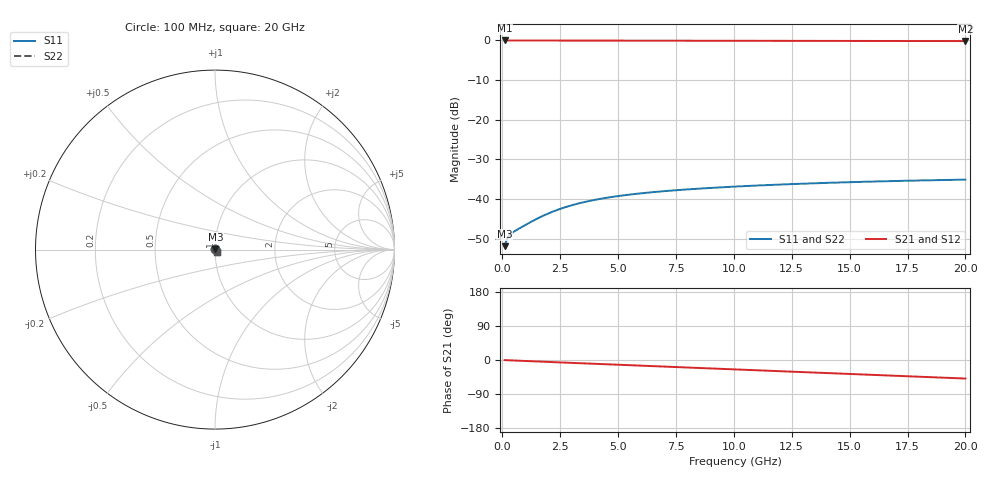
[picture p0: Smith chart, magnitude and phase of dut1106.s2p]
! Touchstone file exported from HFSS 2026.1.0
!  File:  C:/ffzhzh/LocalFiles/Ansys_Project_Files/temp_train_BSMRDL_1106_1783174876_51560.aedt
!  Generated:  10:22:29 PM Jul  4, 2026
!  Design:  BSMRDL
!  Project:  temp_train_BSMRDL_1106_1783174876_51560
! Variables:
!  h_bsmrdl = 5.49um
!  h_ox = 20um
!  h_rdl = 5um
!  h_sub = 80um
!  h_tmrdl = 5um
!  h_tsv = 80um
!  h_via = 3um
!  l_bsmrdl = 878.14um
!  l_sub = 1278.14um
!  l_tmrdl = 200um
!  m_sub = 200um
!  pitch = 34.84um
!  r_tsv = 6um
!  s_tmrdl = 10um
!  w_bsmrdl = 28.69um
!  w_sub = 500um
!  w_tmrdl = 12um
!  x_tsv_center1 = 206um
!  x_tsv_center2 = 1112.83um
!  x_tsv_center3 = 1324.83um
!  x_tsv_center4 = 2231.66um
!  x_tsv_center5 = 2443.66um
!  x_tsv_center6 = 3350.49um
# GHz S MA R 50.000000
! Terminal data exported
! Port[1] = BSM_RDL1_1_T1
! Port[2] = BSM_RDL1_1_T2
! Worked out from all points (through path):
!   200 points, 100 MHz to 20 GHz, reference 50 ohm
!   highest |S21| = -0.02 dB at 100 MHz (marker M1); lowest = -0.2 dB at 20 GHz (marker M2)
!   group delay of S21, straight-line fit = 6.77 ps
!   lowest |S11| = -51.9 dB at 100 MHz (marker M3), VSWR 1.01, Z = 50.2 + j0.0833 ohm
!   |S11| at or under -10 dB: start of sweep to end of sweep
!   |S22| runs from -51.9 to -35.0 dB; largest |S21 - S12| = 3.1e-14
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0.1  0.002536 19.1  0.9976 -0.3  0.9976 -0.3  0.002536 19.1
! Gamma 0 0 0 0
! Port Impedance 50 0 50 0
0.2  0.00311 22.4  0.9971 -0.6  0.9971 -0.6  0.00311 22.4
0.3  0.003459 22.7  0.9968 -0.8  0.9968 -0.8  0.00346 22.7
0.4  0.003687 23.1  0.9966 -1.1  0.9966 -1.1  0.003689 23.1
0.5  0.003867 24.0  0.9965 -1.3  0.9965 -1.3  0.003869 24.0
1  0.004697 29.5  0.996 -2.6  0.996 -2.6  0.004699 29.5
1.6  0.005817 32.8  0.9953 -4.1  0.9953 -4.1  0.005819 32.8
1.9  0.006391 33.1  0.9949 -4.9  0.9949 -4.9  0.006393 33.1
2.2  0.006953 32.7  0.9945 -5.6  0.9945 -5.6  0.006954 32.7
2.8  0.008002 30.8  0.9937 -7.1  0.9937 -7.1  0.008005 30.8
3.1  0.008482 29.5  0.9932 -7.9  0.9932 -7.9  0.008486 29.5
3.5  0.009074 27.6  0.9927 -8.9  0.9927 -8.9  0.009079 27.6
4.2  0.009988 24.0  0.9917 -10.6  0.9917 -10.6  0.009996 23.9
4.9  0.01077 20.3  0.9908 -12.3  0.9908 -12.3  0.01078 20.3
5.8  0.01161 15.7  0.9898 -14.5  0.9898 -14.5  0.01163 15.6
6.8  0.0124 10.8  0.9888 -16.9  0.9888 -16.9  0.01242 10.7
8.3  0.01338 3.8  0.9875 -20.6  0.9875 -20.6  0.01341 3.8
10.1  0.01434 -4.1  0.9861 -25.0  0.9861 -25.0  0.0144 -4.1
11.7  0.01507 -10.8  0.985 -28.8  0.985 -28.8  0.01514 -10.8
13.4  0.01573 -17.7  0.9839 -33.0  0.9839 -33.0  0.01583 -17.8
16.7  0.01677 -30.8  0.9818 -41.0  0.9818 -41.0  0.01693 -30.9
20  0.01752 -43.5  0.98 -48.9  0.98 -48.9  0.01774 -43.5
